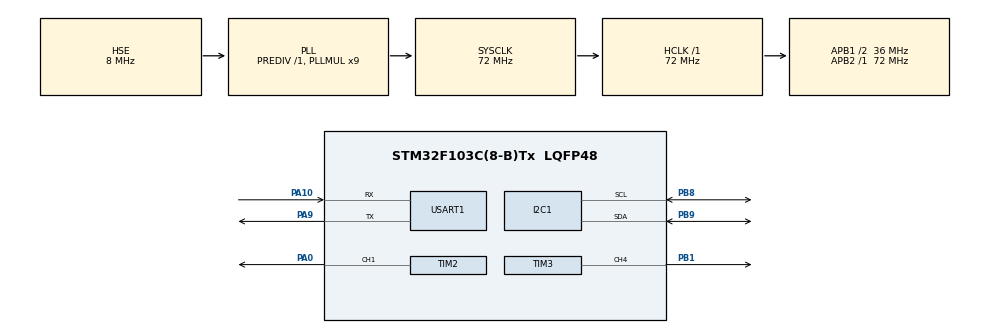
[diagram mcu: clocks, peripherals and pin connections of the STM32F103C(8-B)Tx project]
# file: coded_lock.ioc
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Dma.Request0=USART1_RX
Dma.USART1_RX.0.Direction=DMA_PERIPH_TO_MEMORY
Dma.USART1_RX.0.Instance=DMA1_Channel5
Dma.USART1_RX.0.MemDataAlignment=DMA_MDATAALIGN_BYTE
Dma.USART1_RX.0.MemInc=DMA_MINC_ENABLE
Dma.USART1_RX.0.Mode=DMA_NORMAL
Dma.USART1_RX.0.PeriphDataAlignment=DMA_PDATAALIGN_BYTE
Dma.USART1_RX.0.PeriphInc=DMA_PINC_DISABLE
Dma.USART1_RX.0.Priority=DMA_PRIORITY_MEDIUM
Mcu.Family=STM32F1
Mcu.Name=STM32F103C(8-B)Tx
Mcu.Package=LQFP48
NVIC.DMA1_Channel5_IRQn=true\:0\:0\:false\:false\:true\:false\:true\:true
NVIC.PriorityGroup=NVIC_PRIORITYGROUP_4
NVIC.TIM3_IRQn=true\:0\:0\:false\:false\:true\:true\:true\:true
NVIC.TIM4_IRQn=true\:0\:0\:false\:false\:true\:true\:true\:true
NVIC.USART1_IRQn=true\:0\:0\:false\:false\:true\:true\:true\:true
PA0-WKUP.Signal=S_TIM2_CH1_ETR
PA10.Mode=Asynchronous
PA10.Signal=USART1_RX
PA13.Mode=Serial_Wire
PA13.Signal=SYS_JTMS-SWDIO
PA14.Mode=Serial_Wire
PA14.Signal=SYS_JTCK-SWCLK
PA9.Mode=Asynchronous
PA9.Signal=USART1_TX
PB1.Signal=S_TIM3_CH4
PB8.Mode=I2C
PB8.Signal=I2C1_SCL
PB9.Mode=I2C
PB9.Signal=I2C1_SDA
PD0-OSC_IN.Mode=HSE-External-Oscillator
PD0-OSC_IN.Signal=RCC_OSC_IN
PD1-OSC_OUT.Mode=HSE-External-Oscillator
PD1-OSC_OUT.Signal=RCC_OSC_OUT
ProjectManager.HeapSize=0x200
ProjectManager.StackSize=0x400
ProjectManager.TargetToolchain=STM32CubeIDE
RCC.AHBFreq_Value=72000000
RCC.APB1CLKDivider=RCC_HCLK_DIV2
RCC.APB1Freq_Value=36000000
RCC.APB1TimFreq_Value=72000000
RCC.APB2Freq_Value=72000000
RCC.APB2TimFreq_Value=72000000
RCC.HCLKFreq_Value=72000000
RCC.PLLMUL=RCC_PLL_MUL9
RCC.PLLSourceVirtual=RCC_PLLSOURCE_HSE
RCC.SYSCLKFreq_VALUE=72000000
RCC.SYSCLKSource=RCC_SYSCLKSOURCE_PLLCLK
RCC.USBFreq_Value=72000000
SH.S_TIM2_CH1_ETR.0=TIM2_CH1,PWM Generation1 CH1
SH.S_TIM3_CH4.0=TIM3_CH4,PWM Generation4 CH4
TIM2.Channel-PWM\ Generation1\ CH1=TIM_CHANNEL_1
TIM2.Period=1000
TIM2.Prescaler=72
TIM2.Pulse-PWM\ Generation1\ CH1=500
TIM3.Channel-PWM\ Generation4\ CH4=TIM_CHANNEL_4
TIM3.Period=1000
TIM3.Prescaler=72-1
TIM3.Pulse-PWM\ Generation4\ CH4=500
TIM4.Period=2000-1
TIM4.Prescaler=72-1
USART1.VirtualMode=VM_ASYNC
VP_TIM2_VS_ClockSourceINT.Mode=Internal
VP_TIM3_VS_ClockSourceINT.Mode=Internal
VP_TIM4_VS_ClockSourceINT.Mode=Internal
board=custom

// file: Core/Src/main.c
/* USER CODE BEGIN Header */
/**
  ******************************************************************************
  * @file           : main.c
  * @brief          : Main program body
  ******************************************************************************
  * @attention
  *
  * Copyright (c) 2023 STMicroelectronics.
  * All rights reserved.
  *
  * This software is licensed under terms that can be found in the LICENSE file
  * in the root directory of this software component.
  * If no LICENSE file comes with this software, it is provided AS-IS.
  *
  ******************************************************************************
  */
/* USER CODE END Header */
#include "main.h"
#include "dma.h"
#include "i2c.h"
#include "tim.h"
#include "usart.h"
#include "gpio.h"

/* USER CODE BEGIN PM */
uint8_t Uart_RxBuff[RX_BUFF_SIZE];
uint8_t Uart_RxBuff2[RX_BUFF_SIZE];

/* 锁结构体定义 */
volatile Lock MyLock = {0};
/* 锁是否第一次次使用标志位 */
volatile uint16_t Lock_Flag;
/* 按键输入密码缓冲区 */
volatile uint8_t Key_Value;
volatile uint8_t Key_In_Length = 0;
volatile uint8_t Key_Buff[RX_BUFF_SIZE] = {0};
volatile uint8_t KeyPassBuff[PASS_LENGTH] = {0};

/* 首次上电初始化任务初始化任务 */
const uint8_t PassBuff[PASS_LENGTH] = {'1', '2', '3', '4', '5', '6', '7', '8'};
const uint8_t AdminBuff[PASS_LENGTH] = {'1', '2', '3', '4', '5', '6', '7', '8'};

/* USER CODE END PM */

void SystemClock_Config(void);

int main(void) {

    /* MCU Configuration--------------------------------------------------------*/

    /* Reset of all peripherals, Initializes the Flash interface and the Systick. */
    HAL_Init();

    /* USER CODE BEGIN Init */
    RetargetInit(&huart1);
    /* USER CODE END Init */

    /* Configure the system clock */
    SystemClock_Config();

    /* Initialize all configured peripherals */
    MX_GPIO_Init();
    MX_DMA_Init();
    MX_I2C1_Init();
    MX_USART1_UART_Init();
    MX_TIM2_Init();
    MX_TIM3_Init();
    MX_TIM4_Init();
    /* USER CODE BEGIN 2 */
    OLED_Init();
    Key_Init();

    MyLock.ErrFlag = 0;
    MyLock.Status = LOCK;
    HAL_UARTEx_ReceiveToIdle_DMA(&huart1, Uart_RxBuff, sizeof(Uart_RxBuff));
    /*读取Flash来判断是否第一次进入密码锁系统*/

    HAL_TIM_PWM_Start(&htim2, TIM_CHANNEL_1);

    Lock_Flag = My_Flash_ReadData(LOCK_FLAG_ADDRESS);

    if (Lock_Flag != LOCK_INIT_FLAG) {
        printf("第一次进入系统， 进行FLASH 初始初始化 \n");
        printf("........\n");
        OLED_ShowString(2, 1, "Init Time");

        /* 第一次使用该产品(全部按照默认参数来设置) */
        My_Flash_ClearPage(LOCK_FLAG_ADDRESS);
        My_Flash_ClearPage(USER_LOCK_DATA_ADDRESS);
        /*写入初始化标志位*/
        My_Flash_WriteShort(LOCK_INIT_FLAG, LOCK_FLAG_ADDRESS, 0);
        /* 写入初始化Lock信息 */
        My_Flash_WriteByteArray((uint8_t *) PassBuff, PASS_LENGTH, USER_LOCK_DATA_ADDRESS, 0);
        My_Flash_WriteByteArray((uint8_t *) AdminBuff, PASS_LENGTH, USER_LOCK_DATA_ADDRESS, 10);
    } else {

        printf("不是第一次初始化, 直接进入循环 \n");
    }
    /* 读取FLASH数据保存到保存到数据结构体里面 */
    My_Flash_ReadByteArray((uint8_t *) MyLock.Open_Password, PASS_LENGTH, USER_LOCK_DATA_ADDRESS);
    My_Flash_ReadByteArray((uint8_t *) MyLock.Admin_Password, PASS_LENGTH, USER_LOCK_DATA_ADDRESS + 10);

    HAL_TIM_Base_Start_IT(&htim4);

    /* USER CODE END 2 */

    /* Infinite loop */
    while (1) {

        /* USER CODE BEGIN 3 */
        /* 判断按键是否按下，然后再设定范围 */
        Key_Value = KeyScan();
        if (Key_Value != 0XFF) {
            if (Key_Value == 'E') {
                for (int i = 0; i < PASS_LENGTH; ++i) {
                    KeyPassBuff[i] += '0';
                }
                if (!String_Compare1((uint8_t *) KeyPassBuff, (uint8_t *) MyLock.Open_Password, PASS_LENGTH)) {
                    MyLock.Status = UNLOCK;

                } else {
                    Key_In_Length = 0;
                    memset((uint8_t *) KeyPassBuff, 0, 8);
                    MyLock.ErrFlag++;
                }

            } else if (Key_Value == 'X') {

                if (Key_In_Length == 0) {
                    Key_In_Length = 0;
                } else {
                    KeyPassBuff[(Key_In_Length > 7) ? 7 : Key_In_Length] = 0;
                    Key_In_Length--;
                }
            } else if (Key_Value == 'B') {
                Key_In_Length = 0;
                OLED_Clear();
                MyLock.Status = LOCK;
            } else if (Key_Value != ' ') {
                if (Key_In_Length >= 8) {
                    Key_In_Length = 0;
                } else {
                    KeyPassBuff[Key_In_Length] = Key_Value % 10;
                    Key_In_Length++;
                }
            }
        }
        /*  */
        if (MyLock.Status == LOCK_ERROR) {
            MyLock.ErrFlag = 0;
            HAL_UART_DMAStop(&huart1);

            Buzzer_On();
            for (int i = 0; i < 10; ++i) {
                printf(" 请 %d 秒后再试", 10 - i);
                Delay_ms(200);
            }
            Buzzer_Off();
            MyLock.Status = LOCK;
            HAL_UARTEx_ReceiveToIdle_DMA(&huart1, Uart_RxBuff, sizeof(Uart_RxBuff));
        } else if (MyLock.Status == UNLOCK) {
            Servo_SetAngle(0);
        } else if (MyLock.Status == LOCK) {
            Servo_SetAngle(180);
        }
    }

    /* USER CODE END 3 */
}

void SystemClock_Config(void) {
    RCC_OscInitTypeDef RCC_OscInitStruct = {0};
    RCC_ClkInitTypeDef RCC_ClkInitStruct = {0};

    /** Initializes the RCC Oscillators according to the specified parameters
    * in the RCC_OscInitTypeDef structure.
    */
    RCC_OscInitStruct.OscillatorType = RCC_OSCILLATORTYPE_HSE;
    RCC_OscInitStruct.HSEState = RCC_HSE_ON;
    RCC_OscInitStruct.HSEPredivValue = RCC_HSE_PREDIV_DIV1;
    RCC_OscInitStruct.HSIState = RCC_HSI_ON;
    RCC_OscInitStruct.PLL.PLLState = RCC_PLL_ON;
    RCC_OscInitStruct.PLL.PLLSource = RCC_PLLSOURCE_HSE;
    RCC_OscInitStruct.PLL.PLLMUL = RCC_PLL_MUL9;
    if (HAL_RCC_OscConfig(&RCC_OscInitStruct) != HAL_OK) {
        Error_Handler();
    }

    /** Initializes the CPU, AHB and APB buses clocks
    */
    RCC_ClkInitStruct.ClockType = RCC_CLOCKTYPE_HCLK | RCC_CLOCKTYPE_SYSCLK
                                  | RCC_CLOCKTYPE_PCLK1 | RCC_CLOCKTYPE_PCLK2;
    RCC_ClkInitStruct.SYSCLKSource = RCC_SYSCLKSOURCE_PLLCLK;
    RCC_ClkInitStruct.AHBCLKDivider = RCC_SYSCLK_DIV1;
    RCC_ClkInitStruct.APB1CLKDivider = RCC_HCLK_DIV2;
    RCC_ClkInitStruct.APB2CLKDivider = RCC_HCLK_DIV1;

    if (HAL_RCC_ClockConfig(&RCC_ClkInitStruct, FLASH_LATENCY_2) != HAL_OK) {
        Error_Handler();
    }
}

/* USER CODE BEGIN 4 */

void HAL_TIM_PeriodElapsedCallback(TIM_HandleTypeDef *htim) {
    if (htim == &htim4) {
        /* 每xx ms刷新MyLock的状态 */
        if (MyLock.Status == UNLOCK) {
            Key_In_Length = 0;
            MyLock.ErrFlag = 0;
            memset((uint8_t *) KeyPassBuff, 0, 8);
        } else if (MyLock.Status == LOCK) {
            //Servo_SetAngle(180);
        }
        for (int i = 0; i < 8; ++i) {
            if (i < Key_In_Length) {
                OLED_ShowChar(1, 1 + i, '*');
            } else {
                OLED_ShowChar(1, 1 + i, ' ');
            }
        }
        if (MyLock.ErrFlag >= 3)MyLock.Status = LOCK_ERROR;
        OLED_ShowLockStatus(&MyLock);
    }
}

/**
 * 使用DMA + 串口空闲中断回调函数(接收完成)
 * @param huart 串口句柄
 * @param Size 接收到的字节
 */
void HAL_UARTEx_RxEventCallback(UART_HandleTypeDef *huart, uint16_t Size) {

    /*数据接收预处处理 */

    /* 判断接收到的数据格式是否是解锁指令 Pass:xxxxxxxx*/
    if (!String_Compare1(Uart_RxBuff, LOCK_STRING[0], 5)) {
        for (int i = 0; i < Size; ++i) {
            Uart_RxBuff2[i] = Uart_RxBuff[i + 5];
        }
        if (!String_Compare1(Uart_RxBuff2, (uint8_t *) MyLock.Open_Password, 8) && (MyLock.Status == LOCK)) {
            MyLock.Status = UNLOCK;
            printf("解锁成功 \n");
        } else if (MyLock.Status != UNLOCK) {
            MyLock.ErrFlag++;

            printf(" 你还剩余 %d 次输入机机会, 超过错误要次数需要等30S \n", (3 - MyLock.ErrFlag));
        } else {
            printf(" 门已打开不请不要重复输入 \n");
        }
    } else if (!String_Compare1(Uart_RxBuff, LOCK_STRING[1], 6)) {
        if (MyLock.Status != UNLOCK) {
            printf(" 您需要先解锁才能进入管理员状态 \n");
        } else {
            for (int i = 0; i < PASS_LENGTH; ++i) {
                Uart_RxBuff2[i] = Uart_RxBuff[6 + i];
            }
            if (!String_Compare1(Uart_RxBuff2, (uint8_t *) MyLock.Admin_Password, 8)) {
                MyLock.Status = ADMIN;
                printf("您已进入管理员模式, 可使用指(Modify:XXXXXXXX) (Reset)来更新密码跟重置默认密码 \r\n");
            } else {
                printf("管理员密码输入错误 请稍后再试\n");
            }
        }
    } else if (MyLock.Status == ADMIN) {
        if ((!String_Compare1(Uart_RxBuff, LOCK_STRING[2], 5))) {
            My_Flash_ClearPage(LOCK_FLAG_ADDRESS);
            printf("手动断电重启完成复位 \n");
        } else if (((!String_Compare1(Uart_RxBuff, LOCK_STRING[3], 7)))) {
            for (int i = 0; i < PASS_LENGTH; ++i) {
                Uart_RxBuff2[i] = Uart_RxBuff[7 + i];
            }
            My_Flash_WriteByteArray(Uart_RxBuff2, PASS_LENGTH, USER_LOCK_DATA_ADDRESS, 0);
            printf("手动断电重启完成密码修改 \n");
        }
    } else {
        MyLock.Status = LOCK;
    }
    /* 清清除缓存区 */
    memset(Uart_RxBuff, 0, sizeof(Uart_RxBuff));
    memset(Uart_RxBuff2, 0, sizeof(Uart_RxBuff2));
    //OLED_ShowLockStatus(&MyLock);
    /* 重新启动DMA 转运数据 */
    HAL_UARTEx_ReceiveToIdle_DMA(&huart1, Uart_RxBuff, sizeof(Uart_RxBuff));
}
/**
 * 产生蜂鸣器驱动信号
 */
void Buzzer_On(void) {
    HAL_TIM_PWM_Start(&htim3, TIM_CHANNEL_4);
}
/**
 * 关闭蜂鸣器输出信号
 */
void Buzzer_Off(void) {
    HAL_TIM_PWM_Stop(&htim3, TIM_CHANNEL_4);
    HAL_GPIO_WritePin(GPIOB, GPIO_PIN_1, GPIO_PIN_RESET);
}

/* USER CODE END 4 */

void Error_Handler(void) {
    __disable_irq();
    while (1) {
    }
}
